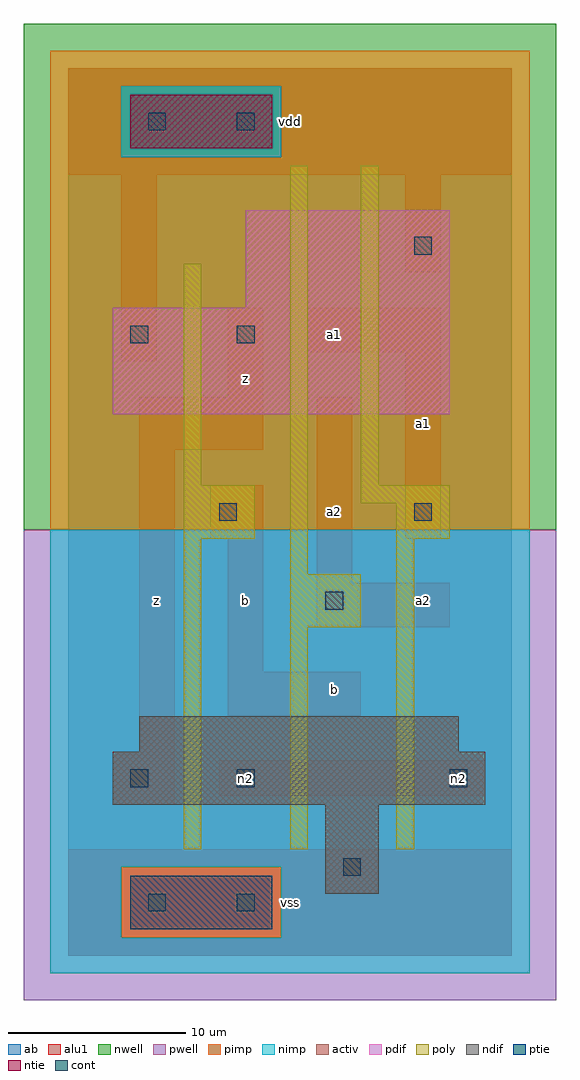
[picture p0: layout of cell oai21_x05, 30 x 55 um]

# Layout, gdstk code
import gdstk
lib = gdstk.Library(unit=1e-6, precision=1e-09)
def R(c, l, rs):  # rectangles x0, y0, x1, y1
    for r in rs: c.add(gdstk.rectangle(r[:2], r[2:], *l))
ndif = (3, 0)
pdif = (4, 0)
ntie = (5, 0)
ptie = (6, 0)
cont = (25, 0)
pwell = (41, 0)
nwell = (42, 0)
activ = (43, 0)
pimp = (44, 0)
nimp = (45, 0)
poly = (46, 0)
alu1 = (49, 0)
ab = (63, 0)

oai21_x05 = lib.new_cell('oai21_x05')
R(oai21_x05, ndif, [(14.5,3.5,17.5,8.5), (2.5,8.5,23.5,11.5), (4,11.5,22,13.5)])
R(oai21_x05, pdif, [(2.5,30.5,21.5,36.5), (10,36.5,21.5,42)])
R(oai21_x05, ntie, [(3.5,45.5,11.5,48.5)])
R(oai21_x05, ptie, [(3.5,1.5,11.5,4.5)])
R(oai21_x05, cont, [(4.5,2.5,5.5,3.5), (9.5,2.5,10.5,3.5), (15.5,4.5,16.5,5.5), (3.5,9.5,4.5,10.5), (9.5,9.5,10.5,10.5), (21.5,9.5,22.5,10.5), (14.5,19.5,15.5,20.5), (8.5,24.5,9.5,25.5), (19.5,24.5,20.5,25.5), (3.5,34.5,4.5,35.5), (9.5,34.5,10.5,35.5), (19.5,39.5,20.5,40.5), (4.5,46.5,5.5,47.5), (9.5,46.5,10.5,47.5)])
R(oai21_x05, pwell, [(-2.5,-2.5,27.5,24)])
R(oai21_x05, nwell, [(-2.5,24,27.5,52.5)])
R(oai21_x05, activ, [(3.5,1.5,11.5,4.5), (14.5,3.5,17.5,8.5), (2.5,8.5,23.5,11.5), (4,11.5,22,13.5), (2.5,30.5,21.5,36.5), (10,36.5,21.5,42), (3.5,45.5,11.5,48.5)])
R(oai21_x05, pimp, [(3,1,12,5), (-1,24,26,45), (-1,45,3,49), (12,45,26,49), (-1,49,26,51)])
R(oai21_x05, nimp, [(-1,-1,26,1), (-1,1,3,5), (12,1,26,5), (-1,5,26,24), (3,45,12,49)])
R(oai21_x05, poly, [(6.5,6,7.5,23.5), (12.5,6,13.5,18.5), (18.5,6,19.5,23.5), (12.5,18.5,16.5,21.5), (12.5,21.5,13.5,44.5), (6.5,23.5,10.5,26.5), (18.5,23.5,21.5,25.5), (16.5,25.5,21.5,26.5), (6.5,26.5,7.5,39), (16.5,26.5,17.5,44.5)])
R(oai21_x05, alu1, [(0,0,25,6), (0,0,25,6), (2.5,8.5,6,11.5), (2.5,8.5,6,11.5), (8.5,9,23.5,11), (8.5,9,23.5,11), (4,11.5,6,28.5), (4,11.5,6,28.5), (9,13.5,16.5,16), (9,13.5,16.5,16), (9,16,11,23.5), (9,16,11,23.5), (14,18.5,21.5,21), (14,18.5,21.5,21), (14,21,16,31.5), (14,21,16,31.5), (8,23.5,11,26.5), (8,23.5,11,26.5), (19,23.5,21,34), (19,23.5,21,34), (4,28.5,11,31.5), (4,28.5,11,31.5), (9,31.5,11,36.5), (9,31.5,11,36.5), (3,33.5,5,44), (3,33.5,5,44), (13.5,34,21,36.5), (13.5,34,21,36.5), (19,38.5,21,44), (19,38.5,21,44), (0,44,25,50), (0,44,25,50)])
R(oai21_x05, ab, [(0,0,25,50)])
oai21_x05.add(gdstk.Label('n2', (10,10), layer=49, texttype=0))
oai21_x05.add(gdstk.Label('n2', (22,10), layer=49, texttype=0))
oai21_x05.add(gdstk.Label('z', (5,20), layer=49, texttype=0))
oai21_x05.add(gdstk.Label('b', (10,20), layer=49, texttype=0))
oai21_x05.add(gdstk.Label('z', (10,32.5), layer=49, texttype=0))
oai21_x05.add(gdstk.Label('vss', (12.5,3), layer=49, texttype=0))
oai21_x05.add(gdstk.Label('b', (15,15), layer=49, texttype=0))
oai21_x05.add(gdstk.Label('a2', (15,25), layer=49, texttype=0))
oai21_x05.add(gdstk.Label('a1', (15,35), layer=49, texttype=0))
oai21_x05.add(gdstk.Label('vdd', (12.5,47), layer=49, texttype=0))
oai21_x05.add(gdstk.Label('a2', (20,20), layer=49, texttype=0))
oai21_x05.add(gdstk.Label('a1', (20,30), layer=49, texttype=0))

lib.write_gds('oai21_x05.gds')
